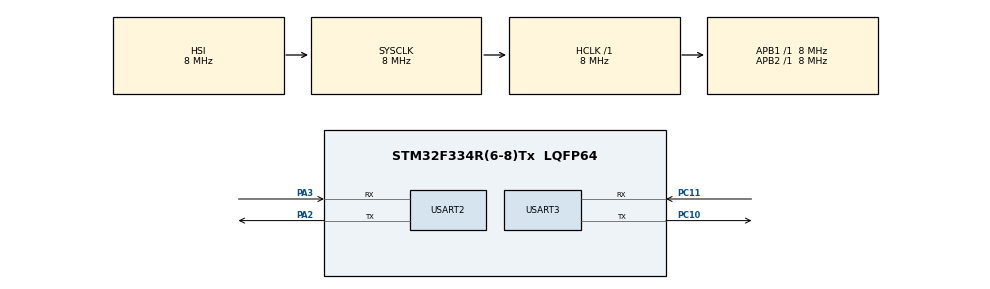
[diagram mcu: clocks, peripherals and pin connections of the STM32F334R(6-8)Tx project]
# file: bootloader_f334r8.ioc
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Mcu.Family=STM32F3
Mcu.Name=STM32F334R(6-8)Tx
Mcu.Package=LQFP64
NVIC.PriorityGroup=NVIC_PRIORITYGROUP_4
PA2.Mode=Asynchronous
PA2.Signal=USART2_TX
PA3.Mode=Asynchronous
PA3.Signal=USART2_RX
PC10.Mode=Asynchronous
PC10.Signal=USART3_TX
PC11.Mode=Asynchronous
PC11.Signal=USART3_RX
ProjectManager.HeapSize=0x200
ProjectManager.StackSize=0x400
ProjectManager.TargetToolchain=STM32CubeIDE
RCC.AHBFreq_Value=8000000
RCC.APB1Freq_Value=8000000
RCC.APB2Freq_Value=8000000
RCC.CortexFreq_Value=8000000
RCC.HSE_VALUE=8000000
RCC.HSI_VALUE=8000000
RCC.LSE_VALUE=32768
RCC.SYSCLKFreq_VALUE=8000000
USART2.VirtualMode-Asynchronous=VM_ASYNC
USART3.VirtualMode-Asynchronous=VM_ASYNC
VP_CRC_VS_CRC.Mode=CRC_Activate
board=custom

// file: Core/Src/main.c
/* USER CODE BEGIN Header */
/**
  ******************************************************************************
  * @file           : main.c
  * @brief          : Main program body
  ******************************************************************************
  * @attention
  *
  * Copyright (c) 2025 STMicroelectronics.
  * All rights reserved.
  *
  * This software is licensed under terms that can be found in the LICENSE file
  * in the root directory of this software component.
  * If no LICENSE file comes with this software, it is provided AS-IS.
  *
  ******************************************************************************
  */
/* USER CODE END Header */
#include <stdarg.h>
#include <string.h>
#include <stdint.h>
#include "main.h"

CRC_HandleTypeDef hcrc;

UART_HandleTypeDef huart2;
UART_HandleTypeDef huart3;

/* USER CODE BEGIN PV */
#define D_UART   &huart3
#define C_UART   &huart2

/* USER CODE END PV */

void SystemClock_Config(void);
static void MX_GPIO_Init(void);
static void MX_CRC_Init(void);
static void MX_USART2_UART_Init(void);
static void MX_USART3_UART_Init(void);
/* USER CODE BEGIN PFP */
static void printmsg(char *format,...);
/* USER CODE END PFP */

int main(void)
{

  /* MCU Configuration--------------------------------------------------------*/

  /* Reset of all peripherals, Initializes the Flash interface and the Systick. */
  HAL_Init();

  /* Configure the system clock */
  SystemClock_Config();

  /* Initialize all configured peripherals */
  MX_GPIO_Init();
  MX_CRC_Init();
  MX_USART2_UART_Init();
  MX_USART3_UART_Init();
  /* USER CODE BEGIN 2 */
  /* Decision making code for bootloader */
  printmsg("Bootloader Init:\n");
  if(HAL_GPIO_ReadPin(B1_GPIO_Port,B1_Pin) == GPIO_PIN_RESET)
  {
    printmsg("BL_DEBUG_MSG:Button is pressed ... going to BL Mode\n\r");
    /* Process the UART information */
    bootloader_uart_read_data();
  }
  else
  {
    printmsg("BL_DEBUG_MSG:Button is not pressed ... executing user app\n");
    /* Continue to user code */
    bootloader_jump_to_user_app();
  }

  /* USER CODE END 2 */

  /* Infinite loop */
  while (1)
  {
    uint32_t current_tick = HAL_GetTick();
    printmsg("Current Tick:%d\n",current_tick);
    while(HAL_GetTick()<=(current_tick+500));

  }
}

void bootloader_uart_read_data()
{
}

void bootloader_jump_to_user_app()
{}
/* prints formatted string to console over UART */
 void printmsg(char *format,...)
 {
#ifdef BL_DEBUG_MSG_EN
	char str[80];

	/*Extract the the argument list using VA apis */
	va_list args;
	va_start(args, format);
	vsprintf(str, format,args);
	HAL_UART_Transmit(D_UART,(uint8_t *)str, strlen(str),HAL_MAX_DELAY);
	va_end(args);
#endif
 }

void SystemClock_Config(void)
{
  RCC_OscInitTypeDef RCC_OscInitStruct = {0};
  RCC_ClkInitTypeDef RCC_ClkInitStruct = {0};

  /** Initializes the RCC Oscillators according to the specified parameters
  * in the RCC_OscInitTypeDef structure.
  */
  RCC_OscInitStruct.OscillatorType = RCC_OSCILLATORTYPE_HSI;
  RCC_OscInitStruct.HSIState = RCC_HSI_ON;
  RCC_OscInitStruct.HSICalibrationValue = RCC_HSICALIBRATION_DEFAULT;
  RCC_OscInitStruct.PLL.PLLState = RCC_PLL_NONE;
  if (HAL_RCC_OscConfig(&RCC_OscInitStruct) != HAL_OK)
  {
    Error_Handler();
  }

  /** Initializes the CPU, AHB and APB buses clocks
  */
  RCC_ClkInitStruct.ClockType = RCC_CLOCKTYPE_HCLK|RCC_CLOCKTYPE_SYSCLK
                              |RCC_CLOCKTYPE_PCLK1|RCC_CLOCKTYPE_PCLK2;
  RCC_ClkInitStruct.SYSCLKSource = RCC_SYSCLKSOURCE_HSI;
  RCC_ClkInitStruct.AHBCLKDivider = RCC_SYSCLK_DIV1;
  RCC_ClkInitStruct.APB1CLKDivider = RCC_HCLK_DIV1;
  RCC_ClkInitStruct.APB2CLKDivider = RCC_HCLK_DIV1;

  if (HAL_RCC_ClockConfig(&RCC_ClkInitStruct, FLASH_LATENCY_0) != HAL_OK)
  {
    Error_Handler();
  }
}

static void MX_CRC_Init(void)
{

  hcrc.Instance = CRC;
  hcrc.Init.DefaultPolynomialUse = DEFAULT_POLYNOMIAL_ENABLE;
  hcrc.Init.DefaultInitValueUse = DEFAULT_INIT_VALUE_ENABLE;
  hcrc.Init.InputDataInversionMode = CRC_INPUTDATA_INVERSION_NONE;
  hcrc.Init.OutputDataInversionMode = CRC_OUTPUTDATA_INVERSION_DISABLE;
  hcrc.InputDataFormat = CRC_INPUTDATA_FORMAT_BYTES;
  if (HAL_CRC_Init(&hcrc) != HAL_OK)
  {
    Error_Handler();
  }

}

static void MX_USART2_UART_Init(void)
{

  huart2.Instance = USART2;
  huart2.Init.BaudRate = 38400;
  huart2.Init.WordLength = UART_WORDLENGTH_8B;
  huart2.Init.StopBits = UART_STOPBITS_1;
  huart2.Init.Parity = UART_PARITY_NONE;
  huart2.Init.Mode = UART_MODE_TX_RX;
  huart2.Init.HwFlowCtl = UART_HWCONTROL_NONE;
  huart2.Init.OverSampling = UART_OVERSAMPLING_16;
  huart2.Init.OneBitSampling = UART_ONE_BIT_SAMPLE_DISABLE;
  huart2.AdvancedInit.AdvFeatureInit = UART_ADVFEATURE_NO_INIT;
  if (HAL_UART_Init(&huart2) != HAL_OK)
  {
    Error_Handler();
  }

}

static void MX_USART3_UART_Init(void)
{

  huart3.Instance = USART3;
  huart3.Init.BaudRate = 38400;
  huart3.Init.WordLength = UART_WORDLENGTH_8B;
  huart3.Init.StopBits = UART_STOPBITS_1;
  huart3.Init.Parity = UART_PARITY_NONE;
  huart3.Init.Mode = UART_MODE_TX_RX;
  huart3.Init.HwFlowCtl = UART_HWCONTROL_NONE;
  huart3.Init.OverSampling = UART_OVERSAMPLING_16;
  huart3.Init.OneBitSampling = UART_ONE_BIT_SAMPLE_DISABLE;
  huart3.AdvancedInit.AdvFeatureInit = UART_ADVFEATURE_NO_INIT;
  if (HAL_UART_Init(&huart3) != HAL_OK)
  {
    Error_Handler();
  }

}

static void MX_GPIO_Init(void)
{

  /* GPIO Ports Clock Enable */
  __HAL_RCC_GPIOA_CLK_ENABLE();
  __HAL_RCC_GPIOB_CLK_ENABLE();
  __HAL_RCC_GPIOC_CLK_ENABLE();

/* USER CODE BEGIN MX_GPIO_Init_2 */
/* B1_PIN: Button press for bootloader */
GPIO_InitTypeDef GPIO_B1_InitStruct;
GPIO_B1_InitStruct.Pin = B1_Pin;
GPIO_B1_InitStruct.Mode = GPIO_MODE_IT_FALLING;  //Capture GPIO off
GPIO_B1_InitStruct.Pull = GPIO_NOPULL; //No Pull-up or Pull-down
HAL_GPIO_Init(B1_GPIO_Port,&GPIO_B1_InitStruct);
/* USER CODE END MX_GPIO_Init_2 */
}

void Error_Handler(void)
{
  __disable_irq();
  while (1)
  {
  }
}
